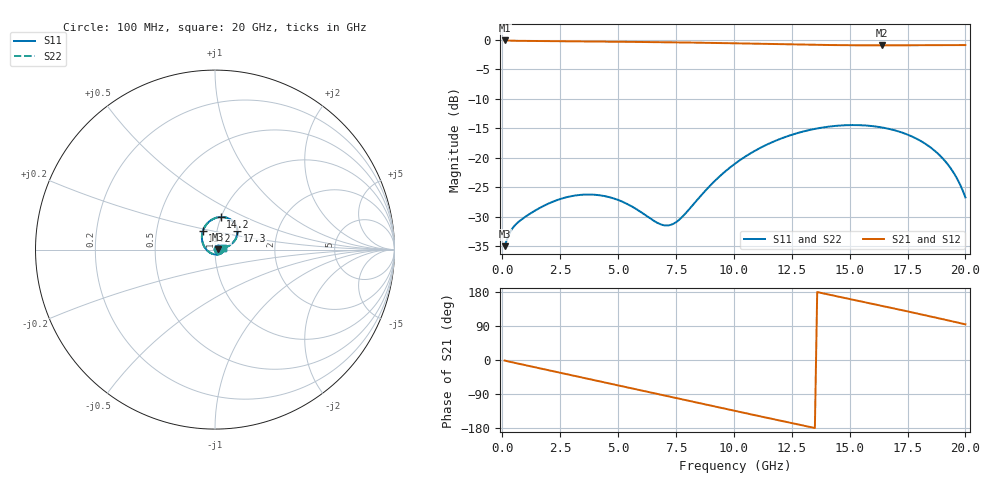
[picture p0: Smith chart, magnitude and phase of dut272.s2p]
! Touchstone file exported from HFSS 2026.1.0
!  File:  C:/ffzhzh/LocalFiles/Ansys_Project_Files/temp_train_TSV_RDL_272_1783084434_37948.aedt
!  Generated:  09:19:45 PM Jul  3, 2026
!  Design:  TSV_RDL
!  Project:  temp_train_TSV_RDL_272_1783084434_37948
! Variables:
!  h_bsmrdl = 4.22um
!  h_ox = 20um
!  h_rdl = 5um
!  h_sub = 51.23um
!  h_tmrdl = 3.64um
!  h_tsv = 51.23um
!  h_via = 3um
!  l_bsmrdl = 167.7um
!  l_sub = 4211.47um
!  l_tmrdl = 790.26um
!  m_sub = 200um
!  pitch = 30.43um
!  r_tsv = 13.94um
!  s_tmrdl = 10um
!  w_bsmrdl = 28.27um
!  w_sub = 500um
!  w_tmrdl = 20.84um
!  x_tsv_center1 = 800.68um
!  x_tsv_center2 = 996.65um
!  x_tsv_center3 = 1807.75um
!  x_tsv_center4 = 2003.72um
!  x_tsv_center5 = 2814.82um
!  x_tsv_center6 = 3010.79um
# GHz S MA R 50.000000
! Terminal data exported
! Port[1] = TM_RDL1_1_T1
! Port[2] = TM_RDL5_1_T1
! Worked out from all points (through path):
!   200 points, 100 MHz to 20 GHz, reference 50 ohm
!   highest |S21| = -0.15 dB at 100 MHz (marker M1); lowest = -1.0 dB at 16.4 GHz (marker M2)
!   group delay of S21, straight-line fit = 36.7 ps
!   lowest |S11| = -34.9 dB at 100 MHz (marker M3), VSWR 1.04, Z = 51.8 + j0.377 ohm
!   |S11| at or under -10 dB: start of sweep to end of sweep
!   |S22| runs from -34.9 to -14.5 dB; largest |S21 - S12| = 1.8e-14
!   S11 on the Smith chart (normalised r, x): 100 MHz: 1.04, +0.01; 11.2 GHz: 0.86, +0.18; 14.2 GHz: 0.99, +0.37; 17.3 GHz: 1.25, +0.27; 20 GHz: 1.09, +0.02
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0.1  0.01789 11.7  0.9826 -1.5  0.9826 -1.5  0.01789 11.7
! Gamma 0 0 0 0
! Port Impedance 50 0 50 0
0.5  0.02625 21.6  0.9769 -7.0  0.9769 -7.0  0.02625 21.6
1.1  0.03274 22.5  0.9736 -15.0  0.9736 -15.0  0.03273 22.5
2.3  0.0434 17.6  0.9692 -31.1  0.9692 -31.1  0.04339 17.6
3.5  0.04878 4.2  0.9646 -47.1  0.9646 -47.1  0.04877 4.2
5  0.04401 -21.7  0.9584 -67.1  0.9584 -67.1  0.04397 -21.5
6.8  0.02756 -85.5  0.9503 -91.1  0.9503 -91.1  0.02738 -85.3
7.2  0.02686 -110.2  0.9482 -96.4  0.9482 -96.4  0.02663 -110.1
7.6  0.02949 -135.3  0.9461 -101.7  0.9461 -101.7  0.02924 -135.4
8.8  0.05347 173.2  0.9387 -117.7  0.9387 -117.7  0.05325 173.0
10.1  0.09063 142.9  0.9291 -135.0  0.9291 -135.0  0.09045 142.6
11.2  0.1229 123.7  0.9202 -149.5  0.9202 -149.5  0.1228 123.5
12.3  0.1518 106.8  0.9112 -163.9  0.9112 -163.9  0.1517 106.6
13.4  0.1741 91.2  0.9032 -178.2  0.9032 -178.2  0.1739 90.9
14.2  0.1845 80.3  0.8985 171.4  0.8985 171.4  0.1844 80.0
16.4  0.1805 51.5  0.8931 142.8  0.8931 142.8  0.1804 51.1
16.7  0.1756 47.7  0.8932 138.9  0.8932 138.9  0.1756 47.3
17.3  0.1625 40.1  0.8939 131.0  0.8939 131.0  0.1625 39.6
18.2  0.134 29.0  0.8958 118.9  0.8958 118.9  0.134 28.3
19  0.09978 19.8  0.8974 108.0  0.8974 108.0  0.09972 19.0
19.6  0.0689 14.6  0.898 99.7  0.898 99.7  0.06877 13.2
20  0.04622 13.7  0.8979 94.1  0.8979 94.1  0.04597 11.7
